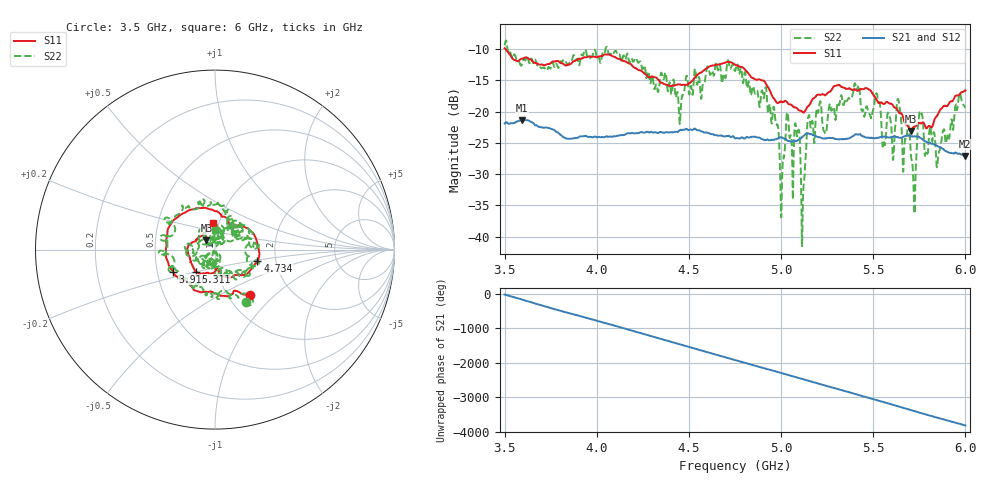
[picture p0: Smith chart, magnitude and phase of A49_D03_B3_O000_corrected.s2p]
! Created with skrf 1.9.0 (http://scikit-rf.org).
# Hz S RI R 50.0
!freq ReS11 ImS11 ReS21 ImS21 ReS12 ImS12 ReS22 ImS22
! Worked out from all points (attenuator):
!   1601 points, 3.5 GHz to 6 GHz, reference 50 ohm
!   highest |S21| = -21.34 dB at 3.592 GHz (marker M1); lowest = -27.1 dB at 5.998 GHz (marker M2)
!   lowest |S11| = -23.1 dB at 5.703 GHz (marker M3), VSWR 1.15, Z = 45.2 + j4.68 ohm
!   |S11| at or under -10 dB: 3.504 GHz to end of sweep
!   |S22| runs from -41.5 to -8.6 dB; largest |S21 - S12| = 0.00094
!   S11 on the Smith chart (normalised r, x): 3.5 GHz: 1.26, -0.71; 3.916 GHz: 0.60, -0.16; 4.734 GHz: 1.60, -0.22; 5.311 GHz: 0.78, -0.20; 6 GHz: 0.94, +0.28
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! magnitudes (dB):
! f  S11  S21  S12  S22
! 3.5 GHz  -9.9  -21.9  -21.9  -9.4
! 3.592 GHz  -11.6  -21.3  -21.4  -12.6
! 3.916 GHz  -11.6  -24.0  -24.0  -11.0
! 3.917 GHz  -11.6  -24.0  -24.0  -10.9
! 4.334 GHz  -15.0  -23.4  -23.3  -16.8
! 4.734 GHz  -12.2  -24.0  -24.0  -12.7
! 4.75 GHz  -12.5  -24.3  -24.2  -13.5
! 4.967 GHz  -18.2  -24.4  -24.4  -20.8
! 5.005 GHz  -18.4  -24.1  -24.1  -31.5
! 5.033 GHz  -18.5  -24.6  -24.6  -20.1
! 5.088 GHz  -19.5  -24.6  -24.6  -23.9
! 5.119 GHz  -20.1  -24.0  -23.9  -33.9
! 5.145 GHz  -19.2  -23.5  -23.5  -21.1
! 5.167 GHz  -18.2  -23.7  -23.6  -21.6
! 5.311 GHz  -15.7  -24.4  -24.4  -18.8
! 5.584 GHz  -18.7  -24.1  -24.1  -20.4
! 5.703 GHz  -23.1  -24.0  -23.9  -26.3
! 5.72 GHz  -22.4  -24.0  -23.9  -33.3
! 5.756 GHz  -21.9  -24.2  -24.2  -20.5
! 5.852 GHz  -20.4  -25.6  -25.5  -27.4
! 5.998 GHz  -16.7  -27.1  -27.0  -19.3
! 6 GHz  -16.6  -27.1  -27.0  -19.4
